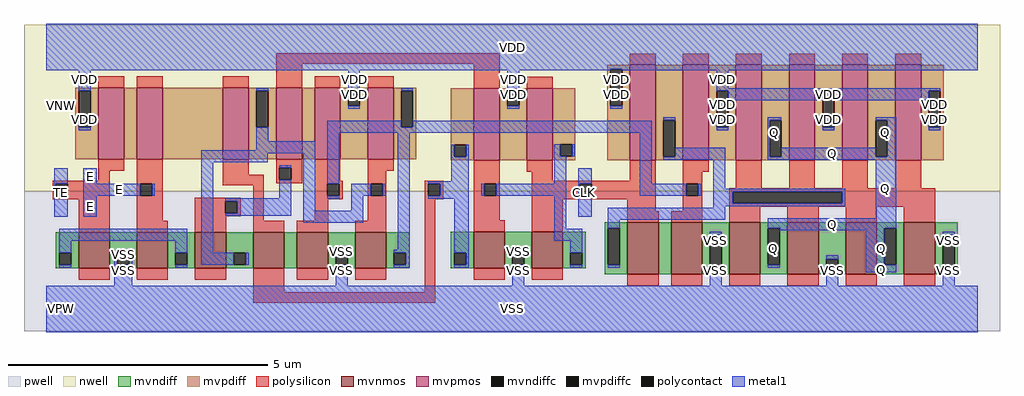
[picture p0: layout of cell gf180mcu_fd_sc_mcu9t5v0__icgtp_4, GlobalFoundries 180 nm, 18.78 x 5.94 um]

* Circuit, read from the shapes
.subckt gf180mcu_fd_sc_mcu9t5v0__icgtp_4 CLK E TE Q VDD VNW VPW VSS
XM1 VSS TE n1 VPW nfet_06v0 w=0.7u l=0.6u
XM2 n1 E VSS VPW nfet_06v0 w=0.7u l=0.6u
XM3 n2 n3 n1 VPW nfet_06v0 w=0.7u l=0.6u
XM4 n4 n5 n2 VPW nfet_06v0 w=0.7u l=0.6u
XM5 VSS n6 n4 VPW nfet_06v0 w=0.7u l=0.6u
XM6 n6 n2 VSS VPW nfet_06v0 w=0.7u l=0.6u
XM7 VSS n3 n5 VPW nfet_06v0 w=0.7u l=0.6u
XM8 n3 CLK VSS VPW nfet_06v0 w=0.7u l=0.6u
XM9 n7 CLK n8 VPW nfet_06v0 w=1u l=0.6u
XM10 VSS n6 n7 VPW nfet_06v0 w=1u l=0.6u
XM11 Q n8 VSS VPW nfet_06v0 w=1u l=0.6u m=4
XM12 n9 TE VDD VNW pfet_06v0 w=1.38u l=0.5u
XM13 n10 E n9 VNW pfet_06v0 w=1.38u l=0.5u
XM14 n2 n5 n10 VNW pfet_06v0 w=1.38u l=0.5u
XM15 n11 n3 n2 VNW pfet_06v0 w=1.38u l=0.5u
XM16 VDD n6 n11 VNW pfet_06v0 w=1.38u l=0.5u
XM17 n6 n2 VDD VNW pfet_06v0 w=1.38u l=0.5u
XM18 VDD n3 n5 VNW pfet_06v0 w=1.38u l=0.5u
XM19 n3 CLK VDD VNW pfet_06v0 w=1.38u l=0.5u
XM20 n8 CLK VDD VNW pfet_06v0 w=1.83u l=0.5u
XM21 VDD n6 n8 VNW pfet_06v0 w=1.83u l=0.5u
XM22 Q n8 VDD VNW pfet_06v0 w=1.83u l=0.5u m=4
.ends

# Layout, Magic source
magic
tech gf180mcuD
magscale 1 10
<< nwell >>
rect -86 453 3670 1094
<< pwell >>
rect -86 -86 3670 453
<< mvnmos >>
rect 124 156 244 296
rect 348 156 468 296
rect 572 156 692 296
rect 796 156 916 296
rect 964 156 1084 296
rect 1188 156 1308 296
rect 1644 157 1764 297
rect 1868 157 1988 297
rect 2236 133 2356 333
rect 2404 133 2524 333
rect 2628 133 2748 333
rect 2852 133 2972 333
rect 3076 133 3196 333
rect 3300 133 3420 333
<< mvpmos >>
rect 200 576 300 852
rect 348 576 448 852
rect 678 576 778 852
rect 884 576 984 852
rect 1032 576 1132 852
rect 1236 576 1336 852
rect 1644 573 1744 849
rect 1848 573 1948 849
rect 2246 573 2346 939
rect 2450 573 2550 939
rect 2654 573 2754 939
rect 2858 573 2958 939
rect 3062 573 3162 939
rect 3266 573 3366 939
<< mvndiff >>
rect 36 216 124 296
rect 36 170 49 216
rect 95 170 124 216
rect 36 156 124 170
rect 244 216 348 296
rect 244 170 273 216
rect 319 170 348 216
rect 244 156 348 170
rect 468 216 572 296
rect 468 170 497 216
rect 543 170 572 216
rect 468 156 572 170
rect 692 216 796 296
rect 692 170 721 216
rect 767 170 796 216
rect 692 156 796 170
rect 916 156 964 296
rect 1084 216 1188 296
rect 1084 170 1113 216
rect 1159 170 1188 216
rect 1084 156 1188 170
rect 1308 216 1396 296
rect 1308 170 1337 216
rect 1383 170 1396 216
rect 1308 156 1396 170
rect 2148 310 2236 333
rect 1556 216 1644 297
rect 1556 170 1569 216
rect 1615 170 1644 216
rect 1556 157 1644 170
rect 1764 216 1868 297
rect 1764 170 1793 216
rect 1839 170 1868 216
rect 1764 157 1868 170
rect 1988 216 2076 297
rect 1988 170 2017 216
rect 2063 170 2076 216
rect 1988 157 2076 170
rect 2148 170 2161 310
rect 2207 170 2236 310
rect 2148 133 2236 170
rect 2356 133 2404 333
rect 2524 286 2628 333
rect 2524 146 2553 286
rect 2599 146 2628 286
rect 2524 133 2628 146
rect 2748 310 2852 333
rect 2748 170 2777 310
rect 2823 170 2852 310
rect 2748 133 2852 170
rect 2972 192 3076 333
rect 2972 146 3001 192
rect 3047 146 3076 192
rect 2972 133 3076 146
rect 3196 310 3300 333
rect 3196 170 3225 310
rect 3271 170 3300 310
rect 3196 133 3300 170
rect 3420 286 3508 333
rect 3420 146 3449 286
rect 3495 146 3508 286
rect 3420 133 3508 146
<< mvpdiff >>
rect 112 839 200 852
rect 112 699 125 839
rect 171 699 200 839
rect 112 576 200 699
rect 300 576 348 852
rect 448 576 678 852
rect 778 839 884 852
rect 778 699 807 839
rect 853 699 884 839
rect 778 576 884 699
rect 984 576 1032 852
rect 1132 828 1236 852
rect 1132 782 1161 828
rect 1207 782 1236 828
rect 1132 576 1236 782
rect 1336 839 1424 852
rect 2158 922 2246 939
rect 1336 699 1365 839
rect 1411 699 1424 839
rect 1336 576 1424 699
rect 1556 632 1644 849
rect 1556 586 1569 632
rect 1615 586 1644 632
rect 1556 573 1644 586
rect 1744 828 1848 849
rect 1744 782 1773 828
rect 1819 782 1848 828
rect 1744 573 1848 782
rect 1948 633 2036 849
rect 1948 587 1977 633
rect 2023 587 2036 633
rect 1948 573 2036 587
rect 2158 782 2171 922
rect 2217 782 2246 922
rect 2158 573 2246 782
rect 2346 726 2450 939
rect 2346 586 2375 726
rect 2421 586 2450 726
rect 2346 573 2450 586
rect 2550 839 2654 939
rect 2550 699 2579 839
rect 2625 699 2654 839
rect 2550 573 2654 699
rect 2754 726 2858 939
rect 2754 586 2783 726
rect 2829 586 2858 726
rect 2754 573 2858 586
rect 2958 839 3062 939
rect 2958 699 2987 839
rect 3033 699 3062 839
rect 2958 573 3062 699
rect 3162 726 3266 939
rect 3162 586 3191 726
rect 3237 586 3266 726
rect 3162 573 3266 586
rect 3366 839 3454 939
rect 3366 699 3395 839
rect 3441 699 3454 839
rect 3366 573 3454 699
<< mvndiffc >>
rect 49 170 95 216
rect 273 170 319 216
rect 497 170 543 216
rect 721 170 767 216
rect 1113 170 1159 216
rect 1337 170 1383 216
rect 1569 170 1615 216
rect 1793 170 1839 216
rect 2017 170 2063 216
rect 2161 170 2207 310
rect 2553 146 2599 286
rect 2777 170 2823 310
rect 3001 146 3047 192
rect 3225 170 3271 310
rect 3449 146 3495 286
<< mvpdiffc >>
rect 125 699 171 839
rect 807 699 853 839
rect 1161 782 1207 828
rect 1365 699 1411 839
rect 1569 586 1615 632
rect 1773 782 1819 828
rect 1977 587 2023 633
rect 2171 782 2217 922
rect 2375 586 2421 726
rect 2579 699 2625 839
rect 2783 586 2829 726
rect 2987 699 3033 839
rect 3191 586 3237 726
rect 3395 699 3441 839
<< polysilicon >>
rect 884 944 1744 984
rect 200 852 300 896
rect 348 852 448 896
rect 678 852 778 896
rect 884 852 984 944
rect 1032 852 1132 896
rect 1236 852 1336 896
rect 1644 849 1744 944
rect 2246 939 2346 983
rect 2450 939 2550 983
rect 2654 939 2754 983
rect 2858 939 2958 983
rect 3062 939 3162 983
rect 3266 939 3366 983
rect 1848 849 1948 893
rect 200 532 300 576
rect 200 494 244 532
rect 24 481 244 494
rect 24 435 37 481
rect 83 435 244 481
rect 24 422 244 435
rect 124 296 244 422
rect 348 481 448 576
rect 678 532 778 576
rect 348 435 361 481
rect 407 435 448 481
rect 679 516 778 532
rect 884 543 984 576
rect 679 476 836 516
rect 884 497 897 543
rect 943 497 984 543
rect 884 484 984 497
rect 1032 493 1132 576
rect 1236 532 1336 576
rect 348 340 448 435
rect 572 415 748 428
rect 572 369 689 415
rect 735 369 748 415
rect 572 356 748 369
rect 348 296 468 340
rect 572 296 692 356
rect 796 340 836 476
rect 1032 481 1140 493
rect 1032 435 1081 481
rect 1127 435 1140 481
rect 1032 422 1140 435
rect 1236 481 1308 532
rect 1236 435 1249 481
rect 1295 435 1308 481
rect 1032 340 1084 422
rect 1236 340 1308 435
rect 796 296 916 340
rect 964 296 1084 340
rect 1188 296 1308 340
rect 1456 481 1528 494
rect 1456 435 1469 481
rect 1515 435 1528 481
rect 1456 422 1528 435
rect 1644 481 1744 573
rect 1848 529 1948 573
rect 1644 435 1685 481
rect 1731 435 1744 481
rect 124 112 244 156
rect 348 112 468 156
rect 572 112 692 156
rect 796 64 916 156
rect 964 112 1084 156
rect 1188 112 1308 156
rect 1456 64 1496 422
rect 1644 341 1744 435
rect 1868 494 1948 529
rect 2246 494 2346 573
rect 1868 481 2346 494
rect 1868 435 2052 481
rect 2098 435 2346 481
rect 1868 422 2346 435
rect 1644 297 1764 341
rect 1868 297 1988 422
rect 2236 377 2346 422
rect 2450 529 2550 573
rect 2450 481 2524 529
rect 2450 435 2463 481
rect 2509 435 2524 481
rect 2654 465 2754 573
rect 2858 465 2958 573
rect 3062 465 3162 573
rect 3266 465 3366 573
rect 2450 377 2524 435
rect 2236 333 2356 377
rect 2404 333 2524 377
rect 2628 452 3420 465
rect 2628 406 2641 452
rect 3063 406 3420 452
rect 2628 393 3420 406
rect 2628 333 2748 393
rect 2852 333 2972 393
rect 3076 333 3196 393
rect 3300 333 3420 393
rect 1644 113 1764 157
rect 1868 113 1988 157
rect 2236 89 2356 133
rect 2404 89 2524 133
rect 2628 89 2748 133
rect 2852 89 2972 133
rect 3076 89 3196 133
rect 3300 89 3420 133
rect 796 24 1496 64
<< polycontact >>
rect 37 435 83 481
rect 361 435 407 481
rect 897 497 943 543
rect 689 369 735 415
rect 1081 435 1127 481
rect 1249 435 1295 481
rect 1469 435 1515 481
rect 1685 435 1731 481
rect 2052 435 2098 481
rect 2463 435 2509 481
rect 2641 406 3063 452
<< metal1 >>
rect 0 922 3584 1098
rect 0 918 2171 922
rect 125 839 171 918
rect 125 688 171 699
rect 807 839 853 850
rect 1161 828 1207 918
rect 1161 771 1207 782
rect 1365 839 1411 850
rect 807 646 853 699
rect 1081 699 1365 725
rect 1773 828 1819 918
rect 1773 771 1819 782
rect 2217 918 3584 922
rect 2171 771 2217 782
rect 2579 850 2625 918
rect 2579 839 3441 850
rect 2375 726 2421 737
rect 1411 699 2329 725
rect 1081 679 2329 699
rect 807 610 1035 646
rect 597 600 1035 610
rect 597 564 852 600
rect 30 481 83 542
rect 30 435 37 481
rect 30 354 83 435
rect 142 481 194 542
rect 142 435 361 481
rect 407 435 418 481
rect 142 354 194 435
rect 49 262 543 308
rect 49 216 95 262
rect 497 216 543 262
rect 49 159 95 170
rect 262 170 273 216
rect 319 170 330 216
rect 262 90 330 170
rect 597 216 643 564
rect 897 543 943 554
rect 897 426 943 497
rect 689 415 943 426
rect 735 369 943 415
rect 689 358 943 369
rect 989 378 1035 600
rect 1081 481 1127 679
rect 1081 424 1127 435
rect 1173 435 1249 481
rect 1295 435 1306 481
rect 1173 378 1219 435
rect 989 332 1219 378
rect 1352 227 1398 679
rect 1558 586 1569 632
rect 1615 586 1626 632
rect 1558 492 1626 586
rect 1469 481 1626 492
rect 1954 587 1977 633
rect 2023 587 2034 633
rect 1954 481 2000 587
rect 1515 435 1626 481
rect 1674 435 1685 481
rect 1731 435 2000 481
rect 1469 424 1626 435
rect 1113 216 1159 227
rect 597 170 721 216
rect 767 170 778 216
rect 497 159 543 170
rect 1113 90 1159 170
rect 1337 216 1398 227
rect 1383 170 1398 216
rect 1337 159 1398 170
rect 1569 216 1626 424
rect 1954 308 2000 435
rect 2046 481 2098 542
rect 2046 435 2052 481
rect 2283 481 2329 679
rect 2625 804 2987 839
rect 2579 688 2625 699
rect 2777 726 2829 737
rect 2421 586 2612 621
rect 2375 575 2612 586
rect 2777 586 2783 726
rect 3033 804 3395 839
rect 2987 688 3033 699
rect 3191 726 3271 737
rect 2829 586 3191 621
rect 3237 586 3271 726
rect 3395 688 3441 699
rect 2777 575 3271 586
rect 2283 435 2463 481
rect 2509 435 2520 481
rect 2566 463 2612 575
rect 2566 452 3074 463
rect 2046 354 2098 435
rect 2566 406 2641 452
rect 3063 406 3074 452
rect 2566 395 3074 406
rect 2566 389 2612 395
rect 2161 343 2612 389
rect 3191 349 3271 575
rect 2161 310 2207 343
rect 1954 262 2063 308
rect 1615 170 1626 216
rect 1569 159 1626 170
rect 1793 216 1839 227
rect 1793 90 1839 170
rect 2017 216 2063 262
rect 2017 159 2063 170
rect 2777 310 3271 349
rect 2161 159 2207 170
rect 2553 286 2599 297
rect 2823 303 3225 310
rect 2777 159 2823 170
rect 3001 192 3047 207
rect 2553 90 2599 146
rect 3001 90 3047 146
rect 3154 170 3225 303
rect 3154 142 3271 170
rect 3449 286 3495 297
rect 3449 90 3495 146
rect 0 -90 3584 90
<< labels >>
flabel metal1 s 2046 354 2098 542 0 FreeSans 200 0 0 0 CLK
port 1 nsew clock input
flabel metal1 s 142 481 194 542 0 FreeSans 200 0 0 0 E
port 2 nsew default input
flabel metal1 s 3191 621 3271 737 0 FreeSans 200 0 0 0 Q
port 4 nsew default output
flabel metal1 s 30 354 83 542 0 FreeSans 200 0 0 0 TE
port 3 nsew default input
flabel metal1 s 0 918 3584 1098 0 FreeSans 200 0 0 0 VDD
port 5 nsew power bidirectional abutment
flabel metal1 s 3449 227 3495 297 0 FreeSans 200 0 0 0 VSS
port 8 nsew ground bidirectional abutment
flabel nwell s 10 734 110 834 0 FreeSans 400 0 0 0 VNW
port 6 nsew power bidirectional
flabel pwell s 10 -50 110 50 0 FreeSans 400 0 0 0 VPW
port 7 nsew ground bidirectional
rlabel metal1 s 142 435 418 481 1 E
port 2 nsew default input
rlabel metal1 s 142 354 194 435 1 E
port 2 nsew default input
rlabel metal1 s 2777 621 2829 737 1 Q
port 4 nsew default output
rlabel metal1 s 2777 575 3271 621 1 Q
port 4 nsew default output
rlabel metal1 s 3191 349 3271 575 1 Q
port 4 nsew default output
rlabel metal1 s 2777 303 3271 349 1 Q
port 4 nsew default output
rlabel metal1 s 3154 159 3271 303 1 Q
port 4 nsew default output
rlabel metal1 s 2777 159 2823 303 1 Q
port 4 nsew default output
rlabel metal1 s 3154 142 3271 159 1 Q
port 4 nsew default output
rlabel metal1 s 2579 850 2625 918 1 VDD
port 5 nsew power bidirectional abutment
rlabel metal1 s 2171 850 2217 918 1 VDD
port 5 nsew power bidirectional abutment
rlabel metal1 s 1773 850 1819 918 1 VDD
port 5 nsew power bidirectional abutment
rlabel metal1 s 1161 850 1207 918 1 VDD
port 5 nsew power bidirectional abutment
rlabel metal1 s 125 850 171 918 1 VDD
port 5 nsew power bidirectional abutment
rlabel metal1 s 2579 804 3441 850 1 VDD
port 5 nsew power bidirectional abutment
rlabel metal1 s 2171 804 2217 850 1 VDD
port 5 nsew power bidirectional abutment
rlabel metal1 s 1773 804 1819 850 1 VDD
port 5 nsew power bidirectional abutment
rlabel metal1 s 1161 804 1207 850 1 VDD
port 5 nsew power bidirectional abutment
rlabel metal1 s 125 804 171 850 1 VDD
port 5 nsew power bidirectional abutment
rlabel metal1 s 3395 771 3441 804 1 VDD
port 5 nsew power bidirectional abutment
rlabel metal1 s 2987 771 3033 804 1 VDD
port 5 nsew power bidirectional abutment
rlabel metal1 s 2579 771 2625 804 1 VDD
port 5 nsew power bidirectional abutment
rlabel metal1 s 2171 771 2217 804 1 VDD
port 5 nsew power bidirectional abutment
rlabel metal1 s 1773 771 1819 804 1 VDD
port 5 nsew power bidirectional abutment
rlabel metal1 s 1161 771 1207 804 1 VDD
port 5 nsew power bidirectional abutment
rlabel metal1 s 125 771 171 804 1 VDD
port 5 nsew power bidirectional abutment
rlabel metal1 s 3395 688 3441 771 1 VDD
port 5 nsew power bidirectional abutment
rlabel metal1 s 2987 688 3033 771 1 VDD
port 5 nsew power bidirectional abutment
rlabel metal1 s 2579 688 2625 771 1 VDD
port 5 nsew power bidirectional abutment
rlabel metal1 s 125 688 171 771 1 VDD
port 5 nsew power bidirectional abutment
rlabel metal1 s 2553 227 2599 297 1 VSS
port 8 nsew ground bidirectional abutment
rlabel metal1 s 3449 216 3495 227 1 VSS
port 8 nsew ground bidirectional abutment
rlabel metal1 s 2553 216 2599 227 1 VSS
port 8 nsew ground bidirectional abutment
rlabel metal1 s 1793 216 1839 227 1 VSS
port 8 nsew ground bidirectional abutment
rlabel metal1 s 1113 216 1159 227 1 VSS
port 8 nsew ground bidirectional abutment
rlabel metal1 s 3449 207 3495 216 1 VSS
port 8 nsew ground bidirectional abutment
rlabel metal1 s 2553 207 2599 216 1 VSS
port 8 nsew ground bidirectional abutment
rlabel metal1 s 1793 207 1839 216 1 VSS
port 8 nsew ground bidirectional abutment
rlabel metal1 s 1113 207 1159 216 1 VSS
port 8 nsew ground bidirectional abutment
rlabel metal1 s 262 207 330 216 1 VSS
port 8 nsew ground bidirectional abutment
rlabel metal1 s 3449 90 3495 207 1 VSS
port 8 nsew ground bidirectional abutment
rlabel metal1 s 3001 90 3047 207 1 VSS
port 8 nsew ground bidirectional abutment
rlabel metal1 s 2553 90 2599 207 1 VSS
port 8 nsew ground bidirectional abutment
rlabel metal1 s 1793 90 1839 207 1 VSS
port 8 nsew ground bidirectional abutment
rlabel metal1 s 1113 90 1159 207 1 VSS
port 8 nsew ground bidirectional abutment
rlabel metal1 s 262 90 330 207 1 VSS
port 8 nsew ground bidirectional abutment
rlabel metal1 s 0 -90 3584 90 1 VSS
port 8 nsew ground bidirectional abutment
<< properties >>
string FIXED_BBOX 0 0 3584 1008
string GDS_END 868740
string GDS_FILE $PDKPATH/libs.ref/gf180mcu_fd_sc_mcu9t5v0/gds/gf180mcu_fd_sc_mcu9t5v0.gds
string GDS_START 860064
string LEFclass core
string LEFsite GF018hv5v_green_sc9
string LEFsymmetry X Y
<< end >>
